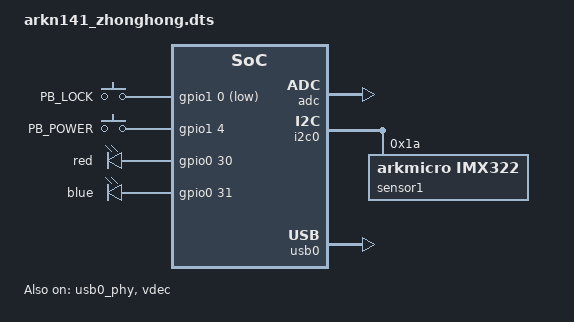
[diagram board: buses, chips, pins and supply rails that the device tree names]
// SPDX-License-Identifier: GPL-2.0
/dts-v1/;
#include "arkn141.dtsi"
#include "arkn141-pinctrl.dtsi"
#include <dt-bindings/gpio/gpio.h>

/ {
	sound {
		//compatible = "arkmicro,arkn141-audio";
		compatible = "simple-audio-card";
		simple-audio-card,format = "i2s";
		simple-audio-card,name = "arkn141-audio";
		#address-cells = <1>;
		#size-cells = <0>;

		simple-audio-card,dai-link@0 {		/* I2S - dac */
			reg = <0>;
			cpu {
				sound-dai = <&i2s_dac>;
			};
			codec {
				sound-dai = <&sddac>;
			};
		};

		simple-audio-card,dai-link@1 {		/* I2S - adc */
			reg = <1>;
			format = "i2s";
			cpu {
				sound-dai = <&i2s_adc>;
			};
			codec {
				sound-dai = <&sdadc>;
			};
		};
	};

	reserved-memory {
		#address-cells = <1>;
		#size-cells = <1>;
		ranges;

		/* global autoconfigured region for contiguous allocations */
		linux,cma {
			compatible = "shared-dma-pool";
			reusable;
			size = <0x1800000>;
			linux,cma-default;
		};
	};

	gpio_keys {
		compatible = "gpio-keys";

		key0 {
			label = "PB_LOCK";
			gpios = <&gpio1 0 GPIO_ACTIVE_LOW>;
			linux,code = <0x100>;
			debounce-interval = <20>;
		};

		key1 {
			label = "PB_POWER";
			gpios = <&gpio1 4 GPIO_ACTIVE_HIGH>;
			linux,code = <0x101>;
			debounce-interval = <20>;
		};
	};

	leds {
		compatible = "gpio-leds";

		led0 {
			label = "red";
			gpios = <&gpio0 30 GPIO_ACTIVE_HIGH>;
		};

		led1 {
			label = "blue";
			gpios = <&gpio0 31 GPIO_ACTIVE_HIGH>;
			linux,default-trigger = "timer";
			default-state = "on";
		};
	};

	adc {
		compatible = "arkmicro,arkn141-adc";
		reg = <0x40403000 0x1000
			0x40408000 0x1000>;
		interrupt-parent = <&intc>;
		interrupts = <0x10>;
	};

	i2c-gpio-0 {
		#address-cells = <1>;
		#size-cells = <0>;
		compatible = "i2c-gpio";
		gpios = <&gpio0 27 0		/* SDA */
			&gpio0 28 0		/* SCL */
		>;
		i2c-gpio,delay-us = <2>;	/* clk freq = 500/delay KHz */
		i2c-gpio,scl-output-only;
		//i2c-gpio,sda-open-drain;
		//i2c-gpio,scl-open-drain;
		status = "disabled";
	};

	touchscreen {
		compatible = "arkmicro,ark-nop-ts";
	};
};

&i2c0 {
	sensor0: gc2053@37 {
		compatible = "arkmicro,gc2053";
		reg = <0x37>;
		sensor-fps = <30>;
		status = "disabled";
	};

	sensor1: imx322@1a {
		compatible = "arkmicro,imx322";
		reg = <0x1a>;
		sensor-fps = <30>;
		//status = "disabled";
	};
};

&ecspi {
	m25p80@0 {
		#address-cells = <1>;
		#size-cells = <1>;
		compatible = "mx25l12805d";
		reg = <0>; /* Chip select 0 */
		spi-max-frequency = <50000000>;
		status = "disabled";
	};
};

&lcdc {
	display = <&display0>;
	pinctrl-names = "default";
	pinctrl-0 = <&pinctrl_lcd_base &pinctrl_lcd_rgb888>;

	display0: display@0 {
		interface-type = "TTL";
		bits-per-pixel = <32>;
		//power-control-gpio = <&gpio2 17 GPIO_ACTIVE_HIGH>;
		lcd-wiring-mode = "RGB";
		//lcdcon-backlight;
		//pwms = <&pwm0 1 50000>;
		//pwm-names = "backlight";
		//backlight-value = <20>;
		//backlight-delay = <200>;

		display-timings {
			native-mode = <&timing0>;
			timing0: timing0 {
				clock-frequency = <32000000>;
				hactive = <800>;
				vactive = <480>;
				hback-porch = <16>;
				hfront-porch = <210>;
				vback-porch = <12>;
				vfront-porch = <22>;
				hsync-len = <30>;
				vsync-len = <13>;
				hsync-active = <1>;
				vsync-active = <1>;
				de-active = <0>;
				pixelclk-active = <0>;
			};
		};
	};
};

&itu656in {
	channel = <2>;  /* 0:channel A; 1:channel B; 2:channel A and B*/
};

&usb0_phy {
     status = "okay";
};

&usb0 {
	status = "okay";
	gpio-id = <0>;
	gpio-pwr = <0xFFFFFFFF>;
};

&vdec {
	status = "okay";
};

&isp_camera {
	sensor-reset-gpios = <&gpio0 27 GPIO_ACTIVE_HIGH>;
};
